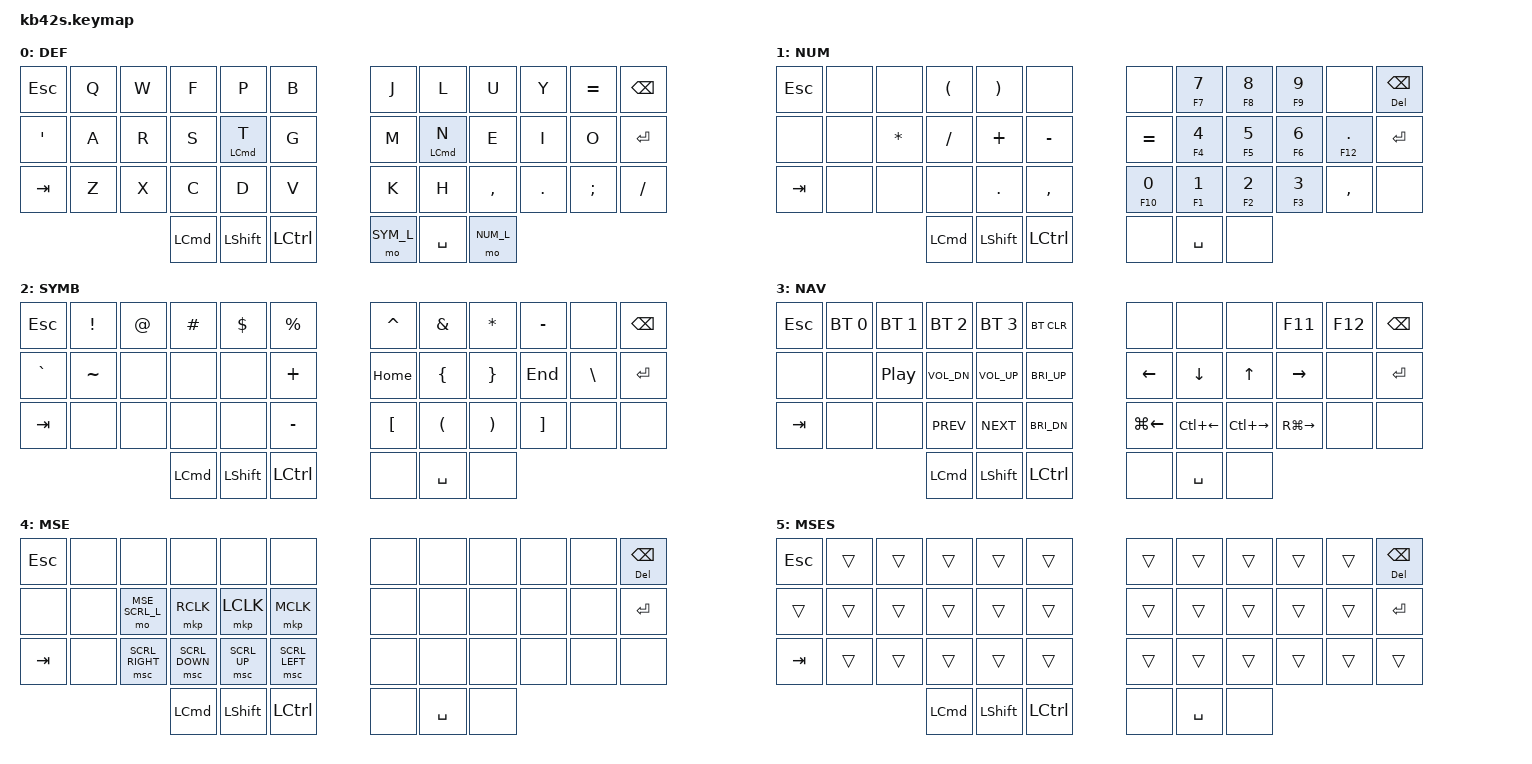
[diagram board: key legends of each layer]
/*
 * Copyright (c) 2020 The ZMK Contributors
 *
 * SPDX-License-Identifier: MIT
 */

#define ZMK_POINTING_DEFAULT_SCRL_VAL 20

#include <behaviors.dtsi>
#include <input/processors.dtsi>
#include <dt-bindings/zmk/pointing.h>
#include <dt-bindings/zmk/keys.h>
#include <dt-bindings/zmk/bt.h>
#include <dt-bindings/zmk/input_transform.h>

#define DEF_L       0
#define NUM_L       1
#define SYM_L       2
#define NAV_L       3
#define MSE_L       4
#define MSE_SCRL_L  5

/ {

    combos {
        compatible = "zmk,combos";
        combo_nav {
            timeout-ms = <100>;
            /* (left thumb right) + (right thumb central) */
            key-positions = <38 39>;
            bindings = <&mo NAV_L>;
        };
    };

	behaviors {
        hm: homerow_mods {
            compatible = "zmk,behavior-hold-tap";
            label = "HOMEROW_MODS";
            #binding-cells = <2>;
            tapping-term-ms = <300>;
            quick-tap-ms = <200>;
            flavor = "tap-preferred";
            bindings = <&kp>, <&kp>;
        };
    };

    keymap {
        compatible = "zmk,keymap";
        default_layer {
            display-name = "DEF";
			label = "DEF";
            bindings = <

   &kp ESC      &kp Q       &kp W       &kp F       &kp P       &kp B               &kp J           &kp L       &kp U       &kp Y       &kp EQUAL       &kp BSPC
   &kp SQT      &kp A       &kp R       &kp S       &hm LCMD T  &kp G               &kp M           &hm LCMD N  &kp E       &kp I       &kp O           &kp RET
   &kp TAB      &kp Z       &kp X       &kp C       &kp D       &kp V               &kp K           &kp H       &kp COMMA   &kp DOT     &kp SEMI        &kp FSLH
                                        &kp LCMD    &kp LSHFT   &kp LCTRL           &mo SYM_L       &kp SPACE   &mo NUM_L
            >;
        };

        numbers_layer {
            display-name = "NUM";
			label = "NUM";
            bindings = <
   &kp ESC      &none           &none           &kp LPAR        &kp RPAR        &none                           &none           &hm F7 N7   &hm F8 N8   &hm F9 N9   &none           &hm DEL BSPC
   &none        &none           &kp STAR        &kp FSLH        &kp PLUS        &kp MINUS                       &kp EQUAL       &hm F4 N4   &hm F5 N5   &hm F6 N6   &hm F12 DOT     &kp RET
   &kp TAB      &none           &none           &none           &kp DOT         &kp COMMA                       &hm F10 N0		&hm F1 N1   &hm F2 N2   &hm F3 N3   &kp COMMA       &none
                                                &kp LCMD        &kp LSHFT       &kp LCTRL                       &none           &kp SPACE   &none
            >;
        };


        symbols_layer {
            display-name = "SYMB";
			label = "SYMB";
            bindings = <
   &kp ESC      &kp EXCL    &kp AT      &kp HASH    &kp DLLR    &kp PRCNT           &kp CARET       &kp AMPS    &kp STAR    &kp MINUS   &none           &kp BSPC
   &kp GRAVE    &kp TILDE   &none       &none       &none       &kp PLUS            &kp HOME        &kp LBRC    &kp RBRC    &kp END     &kp BSLH        &kp RET
   &kp TAB      &none       &none       &none       &none       &kp MINUS           &kp LBKT        &kp LPAR    &kp RPAR    &kp RBKT    &none           &none
                                        &kp LCMD    &kp LSHFT   &kp LCTRL           &none           &kp SPACE   &none
            >;
        };

        arrows_layer {
            display-name = "NAV";
			label = "NAV";
            bindings = <
   &kp ESC      &bt BT_SEL 0    &bt BT_SEL 1    &bt BT_SEL 2    &bt BT_SEL 3    &bt BT_CLR                      &none           &none           &none           &kp F11         &kp F12         &kp BSPC
   &none        &none           &kp C_PP        &kp C_VOL_DN    &kp C_VOL_UP    &kp C_BRI_UP                    &kp LEFT        &kp DOWN        &kp UP          &kp RIGHT       &none           &kp RET
   &kp TAB      &none           &none           &kp C_PREV      &kp C_NEXT      &kp C_BRI_DN                    &kp LG(LEFT)    &kp LC(LEFT)    &kp LC(RIGHT)   &kp RG(RIGHT)   &none           &none
                                                &kp LCMD        &kp LSHFT       &kp LCTRL                       &none           &kp SPACE       &none
            >;
        };

        mouse_layer {
            display-name = "MSE";
			label = "MSE";
            bindings = <
   &kp ESC      &none           &none               &none               &none               &none                           &none       &none       &none       &none       &none       &hm DEL BSPC
   &none        &none           &mo MSE_SCRL_L      &mkp RCLK           &mkp LCLK           &mkp MCLK                       &none       &none       &none       &none       &none       &kp RET
   &kp TAB      &none           &msc SCRL_RIGHT     &msc SCRL_DOWN      &msc SCRL_UP        &msc SCRL_LEFT                  &none       &none       &none       &none       &none       &none
                                                    &kp LCMD            &kp LSHFT           &kp LCTRL                       &none       &kp SPACE   &none
            >;
        };

        mouse_scroll_layer {
            display-name = "MSES";
			label = "MSES";
            bindings = <
   &kp ESC      &trans          &trans          &trans          &trans          &trans                          &trans          &trans          &trans          &trans          &trans          &hm DEL BSPC
   &trans       &trans          &trans          &trans          &trans          &trans                          &trans          &trans          &trans          &trans          &trans          &kp RET
   &kp TAB      &trans          &trans          &trans          &trans          &trans                          &trans          &trans          &trans          &trans          &trans          &trans
                                                &kp LCMD        &kp LSHFT       &kp LCTRL                       &none           &kp SPACE       &none
            >;
        };
    };
};

&trackpad {
    input-processors
    = <&zip_xy_transform (INPUT_TRANSFORM_XY_SWAP)>
    , <&zip_xy_scaler 2 1>
    , <&zip_temp_layer MSE_L 1000>
    ;

    /* scroller {
        layers = <MSE_SCRL_L>;
        input-processors = <&zip_xy_to_scroll_mapper>;
    }; */
};

&msc_input_listener {
    input-processors = <&zip_temp_layer MSE_L 1500>;
};

&mkp_input_listener {
    input-processors = <&zip_temp_layer MSE_L 1500>;
};
